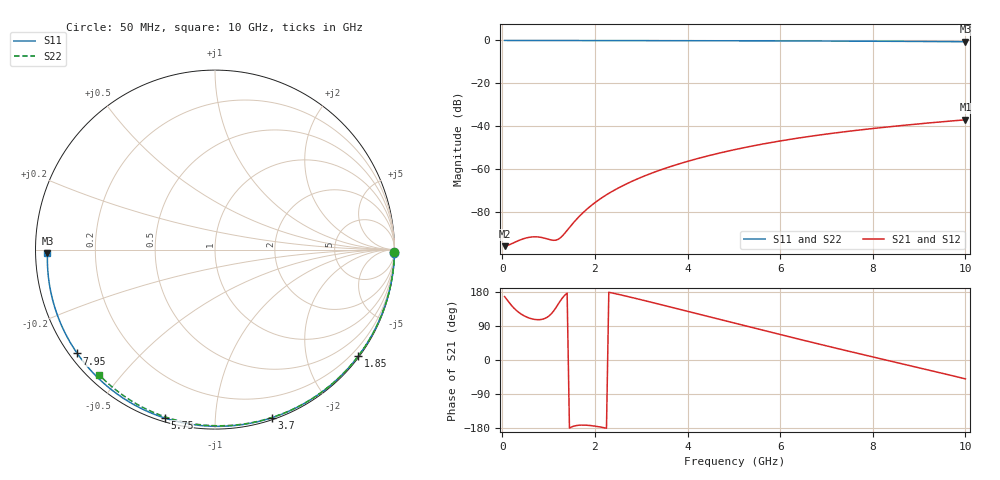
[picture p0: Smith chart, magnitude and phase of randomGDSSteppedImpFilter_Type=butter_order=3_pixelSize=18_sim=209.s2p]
! freq	dB(S11)	phase(S11)	dB(S12)	phase(S12)
!  dB(S21)	phase(S21)	dB(S22)	phase(S22)
!S-par simulation data
#  GHz  S  DB  R 50
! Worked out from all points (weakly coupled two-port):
!   200 points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, 50 MHz to 10 GHz, reference 50 ohm
!   highest |S21| = -37.01 dB at 10 GHz (marker M1); lowest = -95.9 dB at 50 MHz (marker M2)
!   lowest |S11| = -0.6 dB at 10 GHz (marker M3), VSWR 29.16, Z = 1.71 - j0.487 ohm
!   |S11| at or under -10 dB: nowhere
!   |S22| runs from -0.4 to 0.0 dB; largest |S21 - S12| = 0
!   S11 on the Smith chart (normalised r, x): 50 MHz: open; 1.85 GHz: 0.03, -3.02; 3.7 GHz: 0.02, -1.40; 5.75 GHz: 0.02, -0.75; 7.95 GHz: 0.02, -0.33; 10 GHz: 0.03, -0.01
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0.05  -0.00 -1.0  -95.93 167.2  -95.93 167.2  -0.00 -0.8
0.45  -0.01 -9.1  -92.51 118.0  -92.51 118.0  -0.01 -6.9
0.85  -0.02 -17.1  -91.87 107.1  -91.87 107.1  -0.02 -13.0
1.3  -0.03 -25.9  -91.09 164.0  -91.09 164.0  -0.02 -19.8
1.75  -0.04 -34.7  -80.17 -171.7  -80.17 -171.7  -0.03 -26.5
1.85  -0.05 -36.6  -78.24 -172.3  -78.24 -172.3  -0.04 -28.0
2.15  -0.05 -42.4  -73.36 -177.6  -73.36 -177.6  -0.04 -32.4
2.5  -0.06 -49.1  -68.87 173.4  -68.87 173.4  -0.05 -37.5
2.9  -0.07 -56.6  -64.72 161.9  -64.72 161.9  -0.06 -43.3
3.4  -0.09 -65.8  -60.51 146.9  -60.51 146.9  -0.07 -50.4
3.7  -0.10 -71.2  -58.34 137.7  -58.34 137.7  -0.07 -54.6
4.35  -0.12 -82.7  -54.32 117.8  -54.32 117.8  -0.09 -63.6
5.05  -0.15 -94.8  -50.76 96.3  -50.76 96.3  -0.11 -72.9
5.75  -0.18 -106.6  -47.81 74.9  -47.81 74.9  -0.14 -82.0
6.2  -0.21 -114.1  -46.16 61.2  -46.16 61.2  -0.16 -87.7
6.7  -0.24 -122.3  -44.54 46.2  -44.54 46.2  -0.18 -94.0
7.3  -0.29 -132.2  -42.82 28.4  -42.82 28.4  -0.22 -101.3
7.95  -0.34 -143.0  -41.18 9.6  -41.18 9.6  -0.26 -109.0
8.35  -0.39 -149.7  -40.27 -1.9  -40.27 -1.9  -0.29 -113.7
9.2  -0.48 -164.3  -38.49 -26.2  -38.49 -26.2  -0.36 -123.5
9.6  -0.54 -171.5  -37.72 -37.9  -37.72 -37.9  -0.40 -128.1
10  -0.60 -178.9  -37.01 -49.8  -37.01 -49.8  -0.44 -132.7
